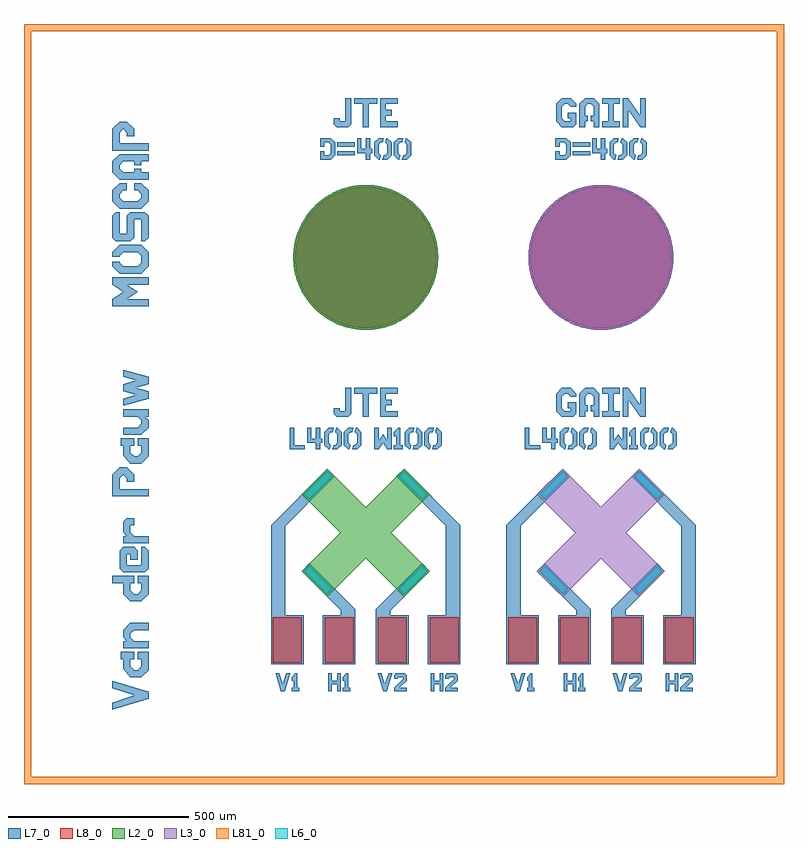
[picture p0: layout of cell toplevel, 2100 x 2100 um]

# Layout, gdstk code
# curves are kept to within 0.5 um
from math import pi, radians
import gdstk
lib = gdstk.Library(unit=1e-6, precision=1e-09)
def R(c, l, rs):  # rectangles x0, y0, x1, y1
    for r in rs: c.add(gdstk.rectangle(r[:2], r[2:], *l))
def P(c, l, *ps):  # polygons
    for p in ps: c.add(gdstk.Polygon(p, *l))
L2_0 = (2, 0)
L3_0 = (3, 0)
L6_0 = (6, 0)
L7_0 = (7, 0)
L8_0 = (8, 0)
L81_0 = (81, 0)

rectangle = lib.new_cell('rectangle')
R(rectangle, L2_0, [(-200,-50,200,50)])

rectangle002 = lib.new_cell('rectangle002')
R(rectangle002, L7_0, [(-200,-170,-170,50)])

rectangle003 = lib.new_cell('rectangle003')
R(rectangle003, L7_0, [(170,-130,200,50)])

offset = lib.new_cell('offset')
R(offset, L6_0, [(-195,-45,-175,45)])

offset004 = lib.new_cell('offset004')
R(offset004, L6_0, [(175,-45,195,45)])

x_tilt = lib.new_cell('X_tilt')
x_tilt.add(gdstk.Reference(rectangle, (0,0)))
x_tilt.add(gdstk.Reference(rectangle002, (0,0)))
x_tilt.add(gdstk.Reference(rectangle003, (0,0)))
x_tilt.add(gdstk.Reference(offset, (0,0)))
x_tilt.add(gdstk.Reference(offset004, (0,0)))

rectangle006 = lib.new_cell('rectangle006')
R(rectangle006, L7_0, [(0,0,40,250)])

rectangle005 = lib.new_cell('rectangle005')
R(rectangle005, L7_0, [(0,0,90,135)])

rectangle007 = lib.new_cell('rectangle007')
R(rectangle007, L7_0, [(0,0,40,16.655)])

offset008 = lib.new_cell('offset008')
R(offset008, L8_0, [(-256.629,-358.787,-176.63,-233.787)])

offset009 = lib.new_cell('offset009')
R(offset009, L8_0, [(33.284,-358.787,113.284,-233.787)])

x_long = lib.new_cell('X_long')
x_long.add(gdstk.Reference(rectangle006, (-261.63,-228.787)))
x_long.add(gdstk.Reference(rectangle005, (-261.63,-363.787)))
x_long.add(gdstk.Reference(rectangle007, (28.284,-228.787)))
x_long.add(gdstk.Reference(rectangle005, (28.284,-363.787)))
x_long.add(gdstk.Reference(offset008, (0,0)))
x_long.add(gdstk.Reference(offset009, (0,0)))

x_short = lib.new_cell('X_short')

x_left = lib.new_cell('X_left')
x_left.add(gdstk.Reference(x_tilt, (0,0), rotation=radians(-45)))
x_left.add(gdstk.Reference(x_long, (0,0)))
x_left.add(gdstk.Reference(x_short, (0,0)))

x_left010 = lib.new_cell('X_left010')
x_left010.add(gdstk.Reference(x_tilt, (0,0), rotation=radians(225), x_reflection=True))
x_left010.add(gdstk.Reference(x_long, (0,0), rotation=pi, x_reflection=True))
x_left010.add(gdstk.Reference(x_short, (0,0), rotation=pi, x_reflection=True))

text = lib.new_cell('text')
P(text, L7_0, [(-72,336),(-56,336),(-56,400),(-40,400),(-40,328),(-48,320),(-80,320),(-88,328),(-88,344),(-72,344),(-72,336)],
  [(32,400),(32,384),(8,384),(8,320),(-8,320),(-8,384),(-32,384),(-32,400),(32,400)],
  [(88,400),(88,384),(56,384),(56,368),(72,368),(72,352),(56,352),(56,336),(88,336),(88,320),(40,320),(40,400),(88,400)])

text011 = lib.new_cell('text011')
P(text011, L7_0, [(-210,290),(-198,290),(-198,242),(-168,242),(-168,230),(-210,230),(-210,290)],
  [(-120,260),(-120,248),(-126,248),(-126,230),(-138,230),(-138,248),(-162,248),(-162,290),(-150,290),(-150,260),(-138,260),(-138,290),(-126,290),(-126,260),(-120,260)],
  [(-96,278),(-102,272),(-102,248),(-96,242),(-99,230),(-102,230),(-114,242),(-114,278),(-102,290),(-88.2,290),(-91.2,278),(-96,278)],
  [(-84,242),(-78,248),(-78,272),(-84,278),(-81,290),(-78,290),(-66,278),(-66,242),(-78,230),(-91.8,230),(-88.8,242),(-84,242)],
  [(-42,278),(-48,272),(-48,248),(-42,242),(-45,230),(-48,230),(-60,242),(-60,278),(-48,290),(-34.2,290),(-37.2,278),(-42,278)],
  [(-30,242),(-24,248),(-24,272),(-30,278),(-27,290),(-24,290),(-12,278),(-12,242),(-24,230),(-37.8,230),(-34.8,242),(-30,242)],
  [(24,290),(36,290),(36,254),(48,272),(60,254),(60,290),(72,290),(72,230),(60,230),(48,248),(36,230),(24,230)],
  [(84,266),(78,266),(78,278),(90,290),(96,290),(96,242),(102,242),(102,230),(78,230),(78,242),(84,242)],
  [(126,278),(120,272),(120,248),(126,242),(123,230),(120,230),(108,242),(108,278),(120,290),(133.8,290),(130.8,278),(126,278)],
  [(138,242),(144,248),(144,272),(138,278),(141,290),(144,290),(156,278),(156,242),(144,230),(130.2,230),(133.2,242),(138,242)],
  [(180,278),(174,272),(174,248),(180,242),(177,230),(174,230),(162,242),(162,278),(174,290),(187.8,290),(184.8,278),(180,278)],
  [(192,242),(198,248),(198,272),(192,278),(195,290),(198,290),(210,278),(210,242),(198,230),(184.2,230),(187.2,242),(192,242)])

text012 = lib.new_cell('text012')
P(text012, L7_0, [(15,50),(25,20),(35,50),(45,50),(30,0),(20,0),(5,50),(15,50)],
  [(55,30),(50,30),(50,40),(60,50),(65,50),(65,10),(70,10),(70,0),(50,0),(50,10),(55,10)])

text013 = lib.new_cell('text013')
P(text013, L7_0, [(15,50),(25,20),(35,50),(45,50),(30,0),(20,0),(5,50),(15,50)],
  [(50,45),(55,50),(80,50),(85,45),(85,30),(65,10),(85,10),(85,0),(50,0),(50,10),(75,35),(75,40),(60,40),(60,35),(50,35)])

text014 = lib.new_cell('text014')
P(text014, L7_0, [(5,50),(15,50),(15,30),(30,30),(30,50),(40,50),(40,0),(30,0),(30,20),(15,20),(15,0),(5,0),(5,50)],
  [(50,30),(45,30),(45,40),(55,50),(60,50),(60,10),(65,10),(65,0),(45,0),(45,10),(50,10)])

text015 = lib.new_cell('text015')
P(text015, L7_0, [(5,50),(15,50),(15,30),(30,30),(30,50),(40,50),(40,0),(30,0),(30,20),(15,20),(15,0),(5,0),(5,50)],
  [(45,45),(50,50),(75,50),(80,45),(80,30),(60,10),(80,10),(80,0),(45,0),(45,10),(70,35),(70,40),(55,40),(55,35),(45,35)])

pad_label = lib.new_cell('pad_label')
pad_label.add(gdstk.Reference(text012, (-254.13,-438.787)))
pad_label.add(gdstk.Reference(text013, (28.284,-438.787)))
pad_label.add(gdstk.Reference(text014, (-108.284,-438.787)))
pad_label.add(gdstk.Reference(text015, (174.13,-438.787)))

x_test = lib.new_cell('X_test')
x_test.add(gdstk.Reference(x_left, (0,0)))
x_test.add(gdstk.Reference(x_left010, (0,0)))
x_test.add(gdstk.Reference(text, (0,0)))
x_test.add(gdstk.Reference(text011, (0,0)))
x_test.add(gdstk.Reference(pad_label, (0,0)))

rectangle021 = lib.new_cell('rectangle021')
R(rectangle021, L3_0, [(-200,-50,200,50)])

rectangle022 = lib.new_cell('rectangle022')
R(rectangle022, L7_0, [(-200,-170,-170,50)])

rectangle023 = lib.new_cell('rectangle023')
R(rectangle023, L7_0, [(170,-130,200,50)])

offset024 = lib.new_cell('offset024')
R(offset024, L6_0, [(-195,-45,-175,45)])

offset025 = lib.new_cell('offset025')
R(offset025, L6_0, [(175,-45,195,45)])

x_tilt017 = lib.new_cell('X_tilt017')
x_tilt017.add(gdstk.Reference(rectangle021, (0,0)))
x_tilt017.add(gdstk.Reference(rectangle022, (0,0)))
x_tilt017.add(gdstk.Reference(rectangle023, (0,0)))
x_tilt017.add(gdstk.Reference(offset024, (0,0)))
x_tilt017.add(gdstk.Reference(offset025, (0,0)))

rectangle027 = lib.new_cell('rectangle027')
R(rectangle027, L7_0, [(0,0,40,250)])

rectangle026 = lib.new_cell('rectangle026')
R(rectangle026, L7_0, [(0,0,90,135)])

rectangle028 = lib.new_cell('rectangle028')
R(rectangle028, L7_0, [(0,0,40,16.655)])

offset029 = lib.new_cell('offset029')
R(offset029, L8_0, [(-256.629,-358.787,-176.63,-233.787)])

offset030 = lib.new_cell('offset030')
R(offset030, L8_0, [(33.284,-358.787,113.284,-233.787)])

x_long018 = lib.new_cell('X_long018')
x_long018.add(gdstk.Reference(rectangle027, (-261.63,-228.787)))
x_long018.add(gdstk.Reference(rectangle026, (-261.63,-363.787)))
x_long018.add(gdstk.Reference(rectangle028, (28.284,-228.787)))
x_long018.add(gdstk.Reference(rectangle026, (28.284,-363.787)))
x_long018.add(gdstk.Reference(offset029, (0,0)))
x_long018.add(gdstk.Reference(offset030, (0,0)))

x_short019 = lib.new_cell('X_short019')

x_left020 = lib.new_cell('X_left020')
x_left020.add(gdstk.Reference(x_tilt017, (0,0), rotation=radians(-45)))
x_left020.add(gdstk.Reference(x_long018, (0,0)))
x_left020.add(gdstk.Reference(x_short019, (0,0)))

x_left031 = lib.new_cell('X_left031')
x_left031.add(gdstk.Reference(x_tilt017, (0,0), rotation=radians(225), x_reflection=True))
x_left031.add(gdstk.Reference(x_long018, (0,0), rotation=pi, x_reflection=True))
x_left031.add(gdstk.Reference(x_short019, (0,0), rotation=pi, x_reflection=True))

text032 = lib.new_cell('text032')
P(text032, L7_0, [(-108,320),(-124,336),(-124,384),(-108,400),(-84,400),(-68,384),(-68,376),(-84,376),(-92,384),(-100,384),(-108,376),(-108,344),(-100,336),(-84,336),(-84,344),(-92,344),(-92,360),(-68,360),(-68,328),(-76,320)],
  [(-60,384),(-44,400),(-19.92,400),(-4,384),(-4,320),(-19.92,320),(-19.92,336),(-28,336),(-28,352),(-19.92,352),(-19.92,376),(-28,384),(-36,384),(-44,376),(-44,352),(-36,352),(-36,336),(-44,336),(-44,320),(-60.08,320)],
  [(4,320),(4,336),(20,336),(20,384),(4,384),(4,400),(52,400),(52,384),(36,384),(36,336),(52,336),(52,320),(4,320)],
  [(60,400),(76,400),(108,352),(108,400),(124,400),(124,320),(108,320),(76,368),(76,320),(60,320),(60,400)])

text033 = lib.new_cell('text033')
P(text033, L7_0, [(-210,290),(-198,290),(-198,242),(-168,242),(-168,230),(-210,230),(-210,290)],
  [(-120,260),(-120,248),(-126,248),(-126,230),(-138,230),(-138,248),(-162,248),(-162,290),(-150,290),(-150,260),(-138,260),(-138,290),(-126,290),(-126,260),(-120,260)],
  [(-96,278),(-102,272),(-102,248),(-96,242),(-99,230),(-102,230),(-114,242),(-114,278),(-102,290),(-88.2,290),(-91.2,278),(-96,278)],
  [(-84,242),(-78,248),(-78,272),(-84,278),(-81,290),(-78,290),(-66,278),(-66,242),(-78,230),(-91.8,230),(-88.8,242),(-84,242)],
  [(-42,278),(-48,272),(-48,248),(-42,242),(-45,230),(-48,230),(-60,242),(-60,278),(-48,290),(-34.2,290),(-37.2,278),(-42,278)],
  [(-30,242),(-24,248),(-24,272),(-30,278),(-27,290),(-24,290),(-12,278),(-12,242),(-24,230),(-37.8,230),(-34.8,242),(-30,242)],
  [(24,290),(36,290),(36,254),(48,272),(60,254),(60,290),(72,290),(72,230),(60,230),(48,248),(36,230),(24,230)],
  [(84,266),(78,266),(78,278),(90,290),(96,290),(96,242),(102,242),(102,230),(78,230),(78,242),(84,242)],
  [(126,278),(120,272),(120,248),(126,242),(123,230),(120,230),(108,242),(108,278),(120,290),(133.8,290),(130.8,278),(126,278)],
  [(138,242),(144,248),(144,272),(138,278),(141,290),(144,290),(156,278),(156,242),(144,230),(130.2,230),(133.2,242),(138,242)],
  [(180,278),(174,272),(174,248),(180,242),(177,230),(174,230),(162,242),(162,278),(174,290),(187.8,290),(184.8,278),(180,278)],
  [(192,242),(198,248),(198,272),(192,278),(195,290),(198,290),(210,278),(210,242),(198,230),(184.2,230),(187.2,242),(192,242)])

text035 = lib.new_cell('text035')
P(text035, L7_0, [(15,50),(25,20),(35,50),(45,50),(30,0),(20,0),(5,50),(15,50)],
  [(55,30),(50,30),(50,40),(60,50),(65,50),(65,10),(70,10),(70,0),(50,0),(50,10),(55,10)])

text036 = lib.new_cell('text036')
P(text036, L7_0, [(15,50),(25,20),(35,50),(45,50),(30,0),(20,0),(5,50),(15,50)],
  [(50,45),(55,50),(80,50),(85,45),(85,30),(65,10),(85,10),(85,0),(50,0),(50,10),(75,35),(75,40),(60,40),(60,35),(50,35)])

text037 = lib.new_cell('text037')
P(text037, L7_0, [(5,50),(15,50),(15,30),(30,30),(30,50),(40,50),(40,0),(30,0),(30,20),(15,20),(15,0),(5,0),(5,50)],
  [(50,30),(45,30),(45,40),(55,50),(60,50),(60,10),(65,10),(65,0),(45,0),(45,10),(50,10)])

text038 = lib.new_cell('text038')
P(text038, L7_0, [(5,50),(15,50),(15,30),(30,30),(30,50),(40,50),(40,0),(30,0),(30,20),(15,20),(15,0),(5,0),(5,50)],
  [(45,45),(50,50),(75,50),(80,45),(80,30),(60,10),(80,10),(80,0),(45,0),(45,10),(70,35),(70,40),(55,40),(55,35),(45,35)])

pad_label034 = lib.new_cell('pad_label034')
pad_label034.add(gdstk.Reference(text035, (-254.13,-438.787)))
pad_label034.add(gdstk.Reference(text036, (28.284,-438.787)))
pad_label034.add(gdstk.Reference(text037, (-108.284,-438.787)))
pad_label034.add(gdstk.Reference(text038, (174.13,-438.787)))

x_test016 = lib.new_cell('X_test016')
x_test016.add(gdstk.Reference(x_left020, (0,0)))
x_test016.add(gdstk.Reference(x_left031, (0,0)))
x_test016.add(gdstk.Reference(text032, (0,0)))
x_test016.add(gdstk.Reference(text033, (0,0)))
x_test016.add(gdstk.Reference(pad_label034, (0,0)))

text039 = lib.new_cell('text039')
P(text039, L7_0, [(30,100),(50,40),(70,100),(90,100),(60,0),(40,0),(10,100),(30,100)],
  [(170,0),(120,0),(100,20),(100,50),(123.4,70),(150,70),(150,77.5),(170,77.5),(170,40),(150,40),(150,50),(130,50),(120,40),(120,30),(130,20),(150,20),(150,30),(170,30)],
  [(230,0),(230,40),(220,50),(210,50),(200,40),(200,0),(180,0),(180,70),(200,70),(200,60),(210,70),(230,70),(250,50),(250,0)],
  [(380,0),(330,0),(310,20),(310,50),(330,70),(360,70),(360,100),(380,100),(380,40),(360,40),(360,50),(340,50),(330,40),(330,30),(340,20),(360,20),(360,30),(380,30)],
  [(400,0),(390,10),(390,70),(400,80),(450,80),(460,70),(460,40),(450,30),(424,30),(424,50),(440,50),(440,60),(410,60),(410,20),(460,20),(460,10),(450,0)],
  [(520,40),(520,50),(500,50),(490,40),(490,0),(470,0),(470,70),(490,70),(490,60),(500,70),(530,70),(540,60),(540,40)],
  [(600,100),(660,100),(680,80),(680,60),(660,40),(640,40),(640,60),(650,60),(660,70),(650,80),(620,80),(620,0),(600,0)],
  [(760,0),(710,0),(690,20),(690,50),(713.4,70),(740,70),(740,77.5),(760,77.5),(760,40),(740,40),(740,50),(720,50),(710,40),(710,30),(720,20),(740,20),(740,30),(760,30)],
  [(790,70),(790,30),(800,20),(810,20),(820,30),(820,70),(840,70),(840,0),(820,0),(820,10),(810,0),(790,0),(770,20),(770,70)],
  [(900,35),(890,0),(870,0),(850,70),(870,70),(880,35),(890,70),(910,70),(920,35),(930,70),(950,70),(930,0),(910,0)])

text040 = lib.new_cell('text040')
P(text040, L7_0, [(10,100),(30,100),(50,70),(70,100),(90,100),(90,0),(70,0),(70,60),(50,30),(30,60),(30,0),(10,0)],
  [(100,80),(120,100),(133,100),(133,80),(130,80),(120,70),(120,30),(130,20),(150,20),(160,30),(160,70),(150,80),(147,80),(147,100),(160,100),(180,80),(180,20),(160,0),(120,0),(100,20)],
  [(270,80),(210,80),(210,60),(260,60),(270,50),(270,10),(260,0),(200,0),(190,10),(190,20),(250,20),(250,40),(200,40),(190,50),(190,90),(200,100),(260,100),(270,90)],
  [(300,0),(280,20),(280,80),(300,100),(330,100),(350,80),(350,60),(330,60),(330,70),(320,80),(310,80),(300,70),(300,30),(310,20),(320,20),(330,30),(330,40),(350,40),(350,20),(330,0)],
  [(360,80),(380,100),(410.1,100),(430,80),(430,0),(410.1,0),(410.1,20),(400,20),(400,40),(410.1,40),(410.1,70),(400,80),(390,80),(380,70),(380,40),(390,40),(390,20),(380,20),(380,0),(359.9,0)],
  [(440,100),(500,100),(520,80),(520,60),(500,40),(480,40),(480,60),(490,60),(500,70),(490,80),(460,80),(460,0),(440,0)])

ellipse = lib.new_cell('ellipse')
P(ellipse, L2_0, [(200,0),(199.239,17.431),(196.325,38.162),(191.261,58.474),(185.437,74.921),(176.59,93.894),(165.808,111.839),(153.209,128.558),(141.421,141.421),(128.558,153.209),(111.839,165.808),(93.894,176.59),(74.921,185.437),(58.474,191.261),(38.162,196.325),(17.431,199.239),(0,200),(-17.431,199.239),(-38.162,196.325),(-58.474,191.261),(-74.921,185.437),(-93.894,176.59),(-111.839,165.808),(-128.558,153.209),(-141.421,141.421),(-153.209,128.558),(-165.808,111.839),(-176.59,93.894),(-185.437,74.921),(-191.261,58.474),(-196.325,38.162),(-199.239,17.431),(-200,0),(-199.239,-17.431),(-196.325,-38.162),(-191.261,-58.474),(-185.437,-74.921),(-176.59,-93.894),(-165.808,-111.839),(-153.209,-128.558),(-141.421,-141.421),(-128.558,-153.209),(-111.839,-165.808),(-93.894,-176.59),(-74.921,-185.437),(-58.474,-191.261),(-38.162,-196.325),(-17.431,-199.239),(0,-200),(17.431,-199.239),(38.162,-196.325),(58.474,-191.261),(74.921,-185.437),(93.894,-176.59),(111.839,-165.808),(128.558,-153.209),(141.421,-141.421),(153.209,-128.558),(165.808,-111.839),(176.59,-93.894),(185.437,-74.921),(191.261,-58.474),(196.325,-38.162),(199.239,-17.431)])

ellipse041 = lib.new_cell('ellipse041')
P(ellipse041, L7_0, [(200,0),(199.239,17.431),(196.325,38.162),(191.261,58.474),(185.437,74.921),(176.59,93.894),(165.808,111.839),(153.209,128.558),(141.421,141.421),(128.558,153.209),(111.839,165.808),(93.894,176.59),(74.921,185.437),(58.474,191.261),(38.162,196.325),(17.431,199.239),(0,200),(-17.431,199.239),(-38.162,196.325),(-58.474,191.261),(-74.921,185.437),(-93.894,176.59),(-111.839,165.808),(-128.558,153.209),(-141.421,141.421),(-153.209,128.558),(-165.808,111.839),(-176.59,93.894),(-185.437,74.921),(-191.261,58.474),(-196.325,38.162),(-199.239,17.431),(-200,0),(-199.239,-17.431),(-196.325,-38.162),(-191.261,-58.474),(-185.437,-74.921),(-176.59,-93.894),(-165.808,-111.839),(-153.209,-128.558),(-141.421,-141.421),(-128.558,-153.209),(-111.839,-165.808),(-93.894,-176.59),(-74.921,-185.437),(-58.474,-191.261),(-38.162,-196.325),(-17.431,-199.239),(0,-200),(17.431,-199.239),(38.162,-196.325),(58.474,-191.261),(74.921,-185.437),(93.894,-176.59),(111.839,-165.808),(128.558,-153.209),(141.421,-141.421),(153.209,-128.558),(165.808,-111.839),(176.59,-93.894),(185.437,-74.921),(191.261,-58.474),(196.325,-38.162),(199.239,-17.431)])

ellipse042 = lib.new_cell('ellipse042')
P(ellipse042, L8_0, [(195,0),(193.932,20.383),(191.417,37.208),(187.446,53.749),(180.801,73.048),(172.175,91.547),(163.541,106.205),(151.543,122.717),(137.886,137.886),(122.717,151.543),(106.205,163.541),(91.547,172.175),(73.048,180.801),(53.749,187.446),(37.208,191.417),(20.383,193.932),(0,195),(-20.383,193.932),(-37.208,191.417),(-53.749,187.446),(-73.048,180.801),(-91.547,172.175),(-106.205,163.541),(-122.717,151.543),(-137.886,137.886),(-151.543,122.717),(-163.541,106.205),(-172.175,91.547),(-180.801,73.048),(-187.446,53.749),(-191.417,37.208),(-193.932,20.383),(-195,0),(-193.932,-20.383),(-191.417,-37.208),(-187.446,-53.749),(-180.801,-73.048),(-172.175,-91.547),(-163.541,-106.205),(-151.543,-122.717),(-137.886,-137.886),(-122.717,-151.543),(-106.205,-163.541),(-91.547,-172.175),(-73.048,-180.801),(-53.749,-187.446),(-37.208,-191.417),(-20.383,-193.932),(0,-195),(20.383,-193.932),(37.208,-191.417),(53.749,-187.446),(73.048,-180.801),(91.547,-172.175),(106.205,-163.541),(122.717,-151.543),(137.886,-137.886),(151.543,-122.717),(163.541,-106.205),(172.175,-91.547),(180.801,-73.048),(187.446,-53.749),(191.417,-37.208),(193.932,-20.383)])

text043 = lib.new_cell('text043')
P(text043, L7_0, [(24,16),(40,16),(40,80),(56,80),(56,8),(48,0),(16,0),(8,8),(8,24),(24,24),(24,16)],
  [(128,80),(128,64),(104,64),(104,0),(88,0),(88,64),(64,64),(64,80),(128,80)],
  [(184,80),(184,64),(152,64),(152,48),(168,48),(168,32),(152,32),(152,16),(184,16),(184,0),(136,0),(136,80),(184,80)])

text044 = lib.new_cell('text044')
P(text044, L7_0, [(6,0),(6,24),(18,24),(18,12),(30,12),(36,18),(36,42),(30,48),(18,48),(18,36),(6,36),(6,60),(36,60),(48,48),(48,12),(36,0)],
  [(54,24),(102,24),(102,12),(54,12),(54,24)],
  [(54,48),(102,48),(102,36),(54,36),(54,48)],
  [(150,30),(150,18),(144,18),(144,0),(132,0),(132,18),(108,18),(108,60),(120,60),(120,30),(132,30),(132,60),(144,60),(144,30),(150,30)],
  [(174,48),(168,42),(168,18),(174,12),(171,0),(168,0),(156,12),(156,48),(168,60),(181.8,60),(178.8,48),(174,48)],
  [(186,12),(192,18),(192,42),(186,48),(189,60),(192,60),(204,48),(204,12),(192,0),(178.2,0),(181.2,12),(186,12)],
  [(228,48),(222,42),(222,18),(228,12),(225,0),(222,0),(210,12),(210,48),(222,60),(235.8,60),(232.8,48),(228,48)],
  [(240,12),(246,18),(246,42),(240,48),(243,60),(246,60),(258,48),(258,12),(246,0),(232.2,0),(235.2,12),(240,12)])

c_pad_small = lib.new_cell('c-pad_small')
c_pad_small.add(gdstk.Reference(ellipse, (0,0)))
c_pad_small.add(gdstk.Reference(ellipse041, (0,0)))
c_pad_small.add(gdstk.Reference(ellipse042, (0,0)))
c_pad_small.add(gdstk.Reference(text043, (-96,360)))
c_pad_small.add(gdstk.Reference(text044, (-132,270)))

ellipse046 = lib.new_cell('ellipse046')
P(ellipse046, L3_0, [(200,0),(199.239,17.431),(196.325,38.162),(191.261,58.474),(185.437,74.921),(176.59,93.894),(165.808,111.839),(153.209,128.558),(141.421,141.421),(128.558,153.209),(111.839,165.808),(93.894,176.59),(74.921,185.437),(58.474,191.261),(38.162,196.325),(17.431,199.239),(0,200),(-17.431,199.239),(-38.162,196.325),(-58.474,191.261),(-74.921,185.437),(-93.894,176.59),(-111.839,165.808),(-128.558,153.209),(-141.421,141.421),(-153.209,128.558),(-165.808,111.839),(-176.59,93.894),(-185.437,74.921),(-191.261,58.474),(-196.325,38.162),(-199.239,17.431),(-200,0),(-199.239,-17.431),(-196.325,-38.162),(-191.261,-58.474),(-185.437,-74.921),(-176.59,-93.894),(-165.808,-111.839),(-153.209,-128.558),(-141.421,-141.421),(-128.558,-153.209),(-111.839,-165.808),(-93.894,-176.59),(-74.921,-185.437),(-58.474,-191.261),(-38.162,-196.325),(-17.431,-199.239),(0,-200),(17.431,-199.239),(38.162,-196.325),(58.474,-191.261),(74.921,-185.437),(93.894,-176.59),(111.839,-165.808),(128.558,-153.209),(141.421,-141.421),(153.209,-128.558),(165.808,-111.839),(176.59,-93.894),(185.437,-74.921),(191.261,-58.474),(196.325,-38.162),(199.239,-17.431)])

ellipse047 = lib.new_cell('ellipse047')
P(ellipse047, L7_0, [(200,0),(199.239,17.431),(196.325,38.162),(191.261,58.474),(185.437,74.921),(176.59,93.894),(165.808,111.839),(153.209,128.558),(141.421,141.421),(128.558,153.209),(111.839,165.808),(93.894,176.59),(74.921,185.437),(58.474,191.261),(38.162,196.325),(17.431,199.239),(0,200),(-17.431,199.239),(-38.162,196.325),(-58.474,191.261),(-74.921,185.437),(-93.894,176.59),(-111.839,165.808),(-128.558,153.209),(-141.421,141.421),(-153.209,128.558),(-165.808,111.839),(-176.59,93.894),(-185.437,74.921),(-191.261,58.474),(-196.325,38.162),(-199.239,17.431),(-200,0),(-199.239,-17.431),(-196.325,-38.162),(-191.261,-58.474),(-185.437,-74.921),(-176.59,-93.894),(-165.808,-111.839),(-153.209,-128.558),(-141.421,-141.421),(-128.558,-153.209),(-111.839,-165.808),(-93.894,-176.59),(-74.921,-185.437),(-58.474,-191.261),(-38.162,-196.325),(-17.431,-199.239),(0,-200),(17.431,-199.239),(38.162,-196.325),(58.474,-191.261),(74.921,-185.437),(93.894,-176.59),(111.839,-165.808),(128.558,-153.209),(141.421,-141.421),(153.209,-128.558),(165.808,-111.839),(176.59,-93.894),(185.437,-74.921),(191.261,-58.474),(196.325,-38.162),(199.239,-17.431)])

ellipse048 = lib.new_cell('ellipse048')
P(ellipse048, L8_0, [(195,0),(193.932,20.383),(191.417,37.208),(187.446,53.749),(180.801,73.048),(172.175,91.547),(163.541,106.205),(151.543,122.717),(137.886,137.886),(122.717,151.543),(106.205,163.541),(91.547,172.175),(73.048,180.801),(53.749,187.446),(37.208,191.417),(20.383,193.932),(0,195),(-20.383,193.932),(-37.208,191.417),(-53.749,187.446),(-73.048,180.801),(-91.547,172.175),(-106.205,163.541),(-122.717,151.543),(-137.886,137.886),(-151.543,122.717),(-163.541,106.205),(-172.175,91.547),(-180.801,73.048),(-187.446,53.749),(-191.417,37.208),(-193.932,20.383),(-195,0),(-193.932,-20.383),(-191.417,-37.208),(-187.446,-53.749),(-180.801,-73.048),(-172.175,-91.547),(-163.541,-106.205),(-151.543,-122.717),(-137.886,-137.886),(-122.717,-151.543),(-106.205,-163.541),(-91.547,-172.175),(-73.048,-180.801),(-53.749,-187.446),(-37.208,-191.417),(-20.383,-193.932),(0,-195),(20.383,-193.932),(37.208,-191.417),(53.749,-187.446),(73.048,-180.801),(91.547,-172.175),(106.205,-163.541),(122.717,-151.543),(137.886,-137.886),(151.543,-122.717),(163.541,-106.205),(172.175,-91.547),(180.801,-73.048),(187.446,-53.749),(191.417,-37.208),(193.932,-20.383)])

text049 = lib.new_cell('text049')
P(text049, L7_0, [(24,0),(8,16),(8,64),(24,80),(48,80),(64,64),(64,56),(48,56),(40,64),(32,64),(24,56),(24,24),(32,16),(48,16),(48,24),(40,24),(40,40),(64,40),(64,8),(56,0)],
  [(72,64),(88,80),(112.08,80),(128,64),(128,0),(112.08,0),(112.08,16),(104,16),(104,32),(112.08,32),(112.08,56),(104,64),(96,64),(88,56),(88,32),(96,32),(96,16),(88,16),(88,0),(71.92,0)],
  [(136,0),(136,16),(152,16),(152,64),(136,64),(136,80),(184,80),(184,64),(168,64),(168,16),(184,16),(184,0),(136,0)],
  [(192,80),(208,80),(240,32),(240,80),(256,80),(256,0),(240,0),(208,48),(208,0),(192,0),(192,80)])

text050 = lib.new_cell('text050')
P(text050, L7_0, [(6,0),(6,24),(18,24),(18,12),(30,12),(36,18),(36,42),(30,48),(18,48),(18,36),(6,36),(6,60),(36,60),(48,48),(48,12),(36,0)],
  [(54,24),(102,24),(102,12),(54,12),(54,24)],
  [(54,48),(102,48),(102,36),(54,36),(54,48)],
  [(150,30),(150,18),(144,18),(144,0),(132,0),(132,18),(108,18),(108,60),(120,60),(120,30),(132,30),(132,60),(144,60),(144,30),(150,30)],
  [(174,48),(168,42),(168,18),(174,12),(171,0),(168,0),(156,12),(156,48),(168,60),(181.8,60),(178.8,48),(174,48)],
  [(186,12),(192,18),(192,42),(186,48),(189,60),(192,60),(204,48),(204,12),(192,0),(178.2,0),(181.2,12),(186,12)],
  [(228,48),(222,42),(222,18),(228,12),(225,0),(222,0),(210,12),(210,48),(222,60),(235.8,60),(232.8,48),(228,48)],
  [(240,12),(246,18),(246,42),(240,48),(243,60),(246,60),(258,48),(258,12),(246,0),(232.2,0),(235.2,12),(240,12)])

c_pad_small045 = lib.new_cell('c-pad_small045')
c_pad_small045.add(gdstk.Reference(ellipse046, (0,0)))
c_pad_small045.add(gdstk.Reference(ellipse047, (0,0)))
c_pad_small045.add(gdstk.Reference(ellipse048, (0,0)))
c_pad_small045.add(gdstk.Reference(text049, (-132,360)))
c_pad_small045.add(gdstk.Reference(text050, (-132,270)))

boolean = lib.new_cell('boolean')
P(boolean, L81_0, [(2100,2100),(0,2100),(0,20),(20,20),(20,2080),(2080,2080),(2080,20),(20,20),(0,20),(0,0),(2100,0)])

toplevel = lib.new_cell('toplevel')
toplevel.add(gdstk.Reference(x_test, (-105.815,-355.607)))
toplevel.add(gdstk.Reference(x_test016, (544.185,-355.607)))
toplevel.add(gdstk.Reference(text039, (-705.815,-855), rotation=pi/2))
toplevel.add(gdstk.Reference(text040, (-705.815,260), rotation=pi/2))
toplevel.add(gdstk.Reference(c_pad_small, (-105.815,405)))
toplevel.add(gdstk.Reference(c_pad_small045, (544.185,405)))
toplevel.add(gdstk.Reference(boolean, (-1050,-1050)))

lib.write_gds('toplevel.gds')
